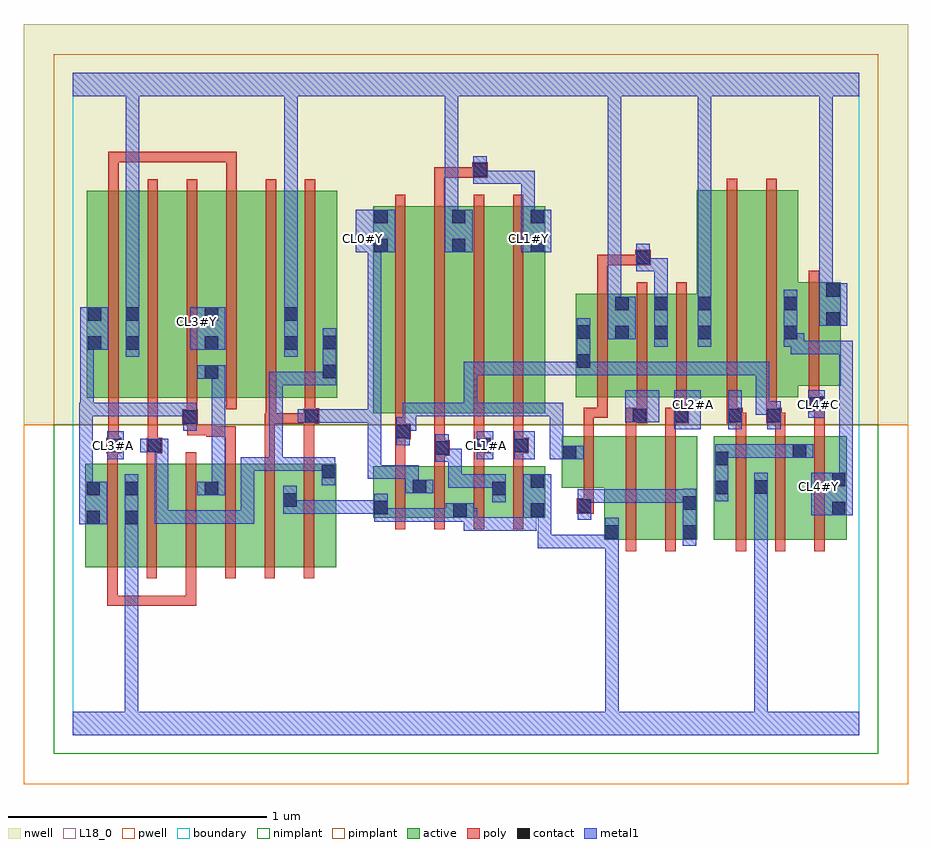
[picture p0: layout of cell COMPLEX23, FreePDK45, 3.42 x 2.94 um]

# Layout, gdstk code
import gdstk
lib = gdstk.Library(unit=1e-6, precision=1e-09)
def R(c, l, rs):  # rectangles x0, y0, x1, y1
    for r in rs: c.add(gdstk.rectangle(r[:2], r[2:], *l))
def A(c, l, x, y, w, h, nx, ny, dx, dy):  # array of equal rectangles
    R(c, l, [(x+i*dx, y+j*dy, x+i*dx+w, y+j*dy+h) for i in range(nx) for j in range(ny)])
active = (1, 0)
pwell = (2, 0)
nwell = (3, 0)
nimplant = (4, 0)
pimplant = (5, 0)
poly = (9, 0)
contact = (10, 0)
metal1 = (11, 0)
L18_0 = (18, 0)
boundary = (235, 0)

complex23 = lib.new_cell('COMPLEX23')
R(complex23, active, [(0.05,0.65,0.11,1.05), (0.05,0.65,0.258,1.05), (0.198,0.65,0.258,1.05), (0.198,0.65,0.382,1.05), (0.382,0.65,0.566,1.05), (0.506,0.65,0.566,1.05), (0.506,0.65,0.686,1.05), (0.686,0.65,0.87,1.05), (0.81,0.65,0.87,1.05), (0.81,0.65,1.018,1.05), (0.958,0.65,1.018,1.05), (2.054,0.756,2.234,1.156), (2.054,0.756,2.114,0.956), (2.234,0.756,2.414,1.156), (2.354,0.756,2.414,1.156), (2.478,0.756,2.538,1.156), (2.478,0.756,2.69,1.156), (2.63,0.756,2.838,1.156), (2.63,0.756,2.69,0.99), (2.778,0.756,2.99,1.156), (2.778,0.756,2.838,1.128), (2.93,0.756,2.99,1.156), (1.162,0.84,1.222,1.04), (1.162,0.84,1.37,1.04), (1.31,0.84,1.37,1.04), (1.31,0.84,1.526,1.04), (1.466,0.84,1.678,1.04), (1.466,0.84,1.526,0.9), (1.618,0.84,1.826,1.04), (1.618,0.84,1.678,0.984), (1.766,0.84,1.826,1.04), (1.89,0.956,1.95,1.156), (1.89,0.956,2.114,1.156), (1.162,1.244,1.342,2.044), (1.162,1.244,1.222,2.044), (1.342,1.244,1.522,2.044), (1.462,1.244,1.646,2.044), (1.646,1.244,1.826,2.044), (1.766,1.244,1.826,2.044), (0.054,1.304,0.114,2.044), (0.054,1.304,0.262,2.104), (0.202,1.304,0.386,2.104), (0.386,1.304,0.566,2.104), (0.506,1.304,0.69,2.104), (0.506,1.304,0.566,2.044), (0.69,1.304,0.874,2.104), (0.814,1.304,1.022,2.104), (0.962,1.304,1.022,2.044), (1.944,1.306,2.152,1.706), (1.944,1.306,2.004,1.644), (2.092,1.306,2.304,1.706), (2.244,1.306,2.472,1.706), (2.412,1.306,2.624,2.106), (2.624,1.306,2.804,2.106), (0.814,1.32,0.874,2.104), (2.744,1.35,2.968,1.75), (2.908,1.35,2.968,1.75), (0.202,1.366,0.262,2.044), (2.412,1.416,2.472,1.698), (2.092,1.526,2.152,1.698), (2.244,1.526,2.304,1.698), (2.744,1.526,2.804,1.704), (1.462,1.65,1.522,2.044)])
R(complex23, pwell, [(-0.188,-0.188,3.228,1.2)])
R(complex23, nwell, [(-0.188,1.2,3.228,2.748)])
R(complex23, nimplant, [(-0.072,-0.072,3.112,1.2)])
R(complex23, pimplant, [(-0.072,1.2,3.112,2.632)])
A(complex23, poly, 0.134, 0.606, 0.04, 0.488, 6, 1, 0.152, 0)
A(complex23, poly, 2.562, 0.712, 0.04, 0.488, 3, 1, 0.152, 0)
A(complex23, poly, 1.246, 0.796, 0.04, 0.288, 4, 1, 0.152, 0)
A(complex23, poly, 1.246, 1.2, 0.04, 0.888, 4, 1, 0.152, 0)
A(complex23, poly, 2.028, 1.226, 0.04, 0.076, 3, 1, 0.152, 0)
A(complex23, poly, 0.138, 1.26, 0.04, 0.888, 6, 1, 0.152, 0)
A(complex23, poly, 2.028, 1.262, 0.04, 0.488, 3, 1, 0.152, 0)
R(complex23, poly, [(0.134,0.5,0.174,0.54), (0.134,0.5,0.174,0.54), (0.134,0.5,0.174,0.54), (0.134,0.5,0.174,0.646), (0.134,0.5,0.358,0.54), (0.318,0.5,0.358,0.54), (0.318,0.5,0.358,0.54), (0.318,0.5,0.358,0.54), (0.318,0.5,0.478,0.54), (0.438,0.5,0.478,0.54), (0.438,0.5,0.478,0.646), (2.138,0.712,2.178,1.2), (2.29,0.712,2.33,1.2), (1.948,0.856,2.014,0.916), (1.974,0.876,2.014,0.952), (1.974,0.912,2.014,1.2), (1.246,1.044,1.286,1.184), (1.398,1.044,1.438,1.12), (1.55,1.044,1.59,1.13), (1.702,1.044,1.742,1.13), (0.134,1.054,0.174,1.13), (0.286,1.054,0.326,1.13), (0.59,1.054,0.63,1.194), (0.742,1.054,0.782,1.244), (0.894,1.054,0.934,1.244), (1.398,1.08,1.458,1.14), (0.13,1.09,0.19,1.15), (0.286,1.09,0.346,1.15), (1.55,1.09,1.618,1.15), (1.702,1.09,1.762,1.15), (1.398,1.1,1.438,1.14), (1.398,1.1,1.438,1.14), (1.398,1.1,1.438,1.24), (0.138,1.11,0.178,1.15), (0.138,1.11,0.178,1.15), (0.138,1.11,0.178,1.3), (0.29,1.11,0.33,1.15), (0.29,1.11,0.33,1.15), (0.29,1.11,0.33,1.3), (1.55,1.11,1.59,1.15), (1.55,1.11,1.59,1.15), (1.55,1.11,1.59,1.24), (1.702,1.11,1.742,1.15), (1.702,1.11,1.742,1.15), (1.702,1.11,1.742,1.24), (1.246,1.144,1.286,1.184), (1.246,1.144,1.286,1.184), (1.246,1.144,1.306,1.204), (0.516,1.154,0.63,1.194), (0.516,1.154,0.556,1.2), (0.59,1.154,0.63,1.194), (0.444,1.16,0.484,1.2), (0.444,1.16,0.556,1.2), (0.444,1.16,0.484,1.24), (1.974,1.16,2.014,1.266), (2.138,1.16,2.178,1.246), (2.29,1.16,2.33,1.246), (2.562,1.16,2.602,1.246), (2.714,1.16,2.754,1.246), (2.866,1.16,2.906,1.29), (1.246,1.164,1.286,1.24), (0.424,1.2,0.484,1.26), (0.742,1.204,0.786,1.244), (0.746,1.204,0.786,1.244), (0.746,1.204,0.786,1.244), (0.746,1.204,0.934,1.244), (0.746,1.204,0.786,1.3), (0.894,1.204,0.934,1.244), (0.894,1.204,0.934,1.244), (0.894,1.204,0.934,1.244), (0.894,1.204,0.934,1.244), (0.894,1.204,0.954,1.264), (2.138,1.206,2.22,1.266), (2.29,1.206,2.38,1.266), (2.528,1.206,2.59,1.266), (2.55,1.206,2.59,1.246), (2.55,1.206,2.602,1.246), (2.68,1.206,2.74,1.266), (2.7,1.206,2.74,1.246), (2.7,1.206,2.754,1.246), (0.442,1.22,0.482,1.3), (0.898,1.224,0.938,1.3), (1.974,1.226,2.014,1.266), (1.974,1.226,2.014,1.266), (1.974,1.226,2.068,1.266), (2.18,1.226,2.22,1.266), (2.18,1.226,2.22,1.266), (2.332,1.226,2.372,1.266), (2.332,1.226,2.372,1.266), (2.528,1.226,2.568,1.302), (2.68,1.226,2.72,1.302), (2.844,1.25,2.904,1.31), (2.864,1.25,2.904,1.29), (2.864,1.25,2.906,1.29), (2.528,1.262,2.568,2.15), (2.68,1.262,2.72,2.15), (2.844,1.27,2.884,1.346), (2.844,1.306,2.884,1.794), (2.028,1.71,2.068,1.856), (2.028,1.816,2.068,1.856), (2.028,1.816,2.068,1.856), (2.028,1.816,2.068,1.856), (2.028,1.816,2.214,1.856), (2.174,1.816,2.234,1.876), (1.398,2.048,1.438,2.194), (0.138,2.108,0.178,2.254), (0.594,2.108,0.634,2.254), (1.398,2.154,1.438,2.194), (1.398,2.154,1.584,2.194), (1.544,2.154,1.584,2.194), (1.544,2.154,1.584,2.194), (1.544,2.154,1.604,2.214), (0.138,2.214,0.178,2.254), (0.138,2.214,0.178,2.254), (0.138,2.214,0.178,2.254), (0.138,2.214,0.358,2.254), (0.318,2.214,0.358,2.254), (0.318,2.214,0.358,2.254), (0.318,2.214,0.358,2.254), (0.318,2.214,0.524,2.254), (0.484,2.214,0.524,2.254), (0.484,2.214,0.634,2.254), (0.594,2.214,0.634,2.254), (0.594,2.214,0.634,2.254), (0.594,2.214,0.634,2.254)])
A(complex23, contact, 0.51, 1.378, 0.052, 0.052, 1, 3, 0, 0.112)
R(complex23, contact, [(2.058,0.76,2.11,0.812), (2.358,0.76,2.41,0.812), (0.054,0.816,0.106,0.868), (0.202,0.816,0.254,0.868), (1.47,0.844,1.522,0.896), (1.77,0.844,1.822,0.896), (2.934,0.85,2.986,0.902), (1.166,0.854,1.218,0.906), (1.952,0.86,2.004,0.912), (2.358,0.872,2.41,0.924), (0.814,0.884,0.866,0.936), (0.054,0.928,0.106,0.98), (0.202,0.928,0.254,0.98), (0.51,0.928,0.562,0.98), (1.622,0.928,1.674,0.98), (2.482,0.932,2.534,0.984), (2.634,0.934,2.686,0.986), (1.314,0.936,1.366,0.988), (1.77,0.956,1.822,1.008), (2.934,0.962,2.986,1.014), (0.962,0.994,1.014,1.046), (2.482,1.044,2.534,1.096), (1.894,1.066,1.946,1.118), (2.782,1.072,2.834,1.124), (1.402,1.084,1.454,1.136), (0.134,1.094,0.186,1.146), (0.29,1.094,0.342,1.146), (1.562,1.094,1.614,1.146), (1.706,1.094,1.758,1.146), (1.25,1.148,1.302,1.2), (0.428,1.204,0.48,1.256), (0.898,1.208,0.95,1.26), (2.164,1.21,2.216,1.262), (2.324,1.21,2.376,1.262), (2.534,1.21,2.586,1.262), (2.684,1.21,2.736,1.262), (2.848,1.254,2.9,1.306), (0.966,1.38,1.018,1.432), (1.948,1.42,2,1.472), (0.058,1.49,0.11,1.542), (0.206,1.49,0.258,1.542), (0.818,1.49,0.87,1.542), (0.966,1.492,1.018,1.544), (2.096,1.53,2.148,1.582), (2.248,1.53,2.3,1.582), (2.416,1.53,2.468,1.582), (2.748,1.53,2.8,1.582), (1.948,1.532,2,1.584), (2.912,1.582,2.964,1.634), (0.058,1.602,0.11,1.654), (0.206,1.602,0.258,1.654), (0.818,1.602,0.87,1.654), (2.096,1.642,2.148,1.694), (2.248,1.642,2.3,1.694), (2.416,1.642,2.468,1.694), (2.748,1.642,2.8,1.694), (2.912,1.694,2.964,1.746), (2.178,1.82,2.23,1.872), (1.166,1.866,1.218,1.918), (1.466,1.866,1.518,1.918), (1.77,1.866,1.822,1.918), (1.166,1.978,1.218,2.03), (1.466,1.978,1.518,2.03), (1.77,1.978,1.822,2.03), (1.548,2.158,1.6,2.21)])
R(complex23, metal1, [(0,0,3.04,0.092), (0.202,0.04,0.254,0.092), (0.202,0.04,0.254,0.092), (0.202,0.04,0.254,0.092), (0.202,0.04,0.254,0.092), (0.202,0.04,0.254,0.092), (0.202,0.04,0.254,0.092), (0.202,0.04,0.254,0.092), (0.202,0.04,0.254,0.092), (0.202,0.04,0.254,0.092), (0.202,0.04,0.254,0.092), (0.202,0.04,0.254,0.092), (0.202,0.04,0.254,0.092), (0.202,0.04,0.254,0.84), (2.058,0.04,2.11,0.092), (2.058,0.04,2.11,0.092), (2.058,0.04,2.11,0.092), (2.058,0.04,2.11,0.092), (2.058,0.04,2.11,0.092), (2.058,0.04,2.11,0.092), (2.058,0.04,2.11,0.774), (2.634,0.04,2.686,0.092), (2.634,0.04,2.686,0.092), (2.634,0.04,2.686,0.092), (2.634,0.04,2.686,0.092), (2.634,0.04,2.686,0.092), (2.634,0.04,2.686,0.092), (2.634,0.04,2.686,0.958), (1.798,0.722,1.85,0.774), (1.798,0.722,1.85,0.774), (1.798,0.722,1.85,0.774), (1.798,0.722,2,0.774), (1.798,0.722,1.85,0.896), (1.948,0.722,2,0.774), (1.948,0.722,2.006,0.774), (1.954,0.722,2.006,0.774), (1.954,0.722,2.11,0.774), (2.058,0.722,2.11,0.774), (2.058,0.722,2.11,0.774), (2.058,0.722,2.11,0.774), (2.058,0.722,2.11,0.774), (2.058,0.722,2.11,0.774), (2.058,0.722,2.11,0.774), (2.058,0.722,2.11,0.84), (2.358,0.732,2.41,0.952), (0.202,0.788,0.254,1.008), (1.512,0.79,1.674,0.842), (1.512,0.79,1.564,0.878), (1.622,0.79,1.674,0.842), (1.622,0.79,1.794,0.842), (1.742,0.79,1.794,0.896), (0.026,0.816,0.134,0.98), (0.318,0.818,0.37,0.87), (0.318,0.818,0.48,0.87), (0.318,0.818,0.37,1.146), (0.428,0.818,0.48,0.87), (0.428,0.818,0.48,0.87), (0.428,0.818,0.48,0.87), (0.428,0.818,0.702,0.87), (0.65,0.818,0.702,0.87), (0.65,0.818,0.702,0.87), (0.65,0.818,0.702,0.87), (0.65,0.818,0.702,1.074), (1.166,0.826,1.218,0.934), (1.166,0.826,1.344,0.878), (1.292,0.826,1.344,0.878), (1.292,0.826,1.344,0.878), (1.292,0.826,1.344,0.878), (1.292,0.826,1.454,0.878), (1.402,0.826,1.454,0.878), (1.402,0.826,1.494,0.878), (1.442,0.826,1.55,0.896), (1.498,0.826,1.564,0.878), (1.952,0.832,2.004,0.95), (1.742,0.844,1.794,0.896), (1.742,0.844,1.85,1.008), (2.854,0.85,3.014,1.014), (0.814,0.856,0.866,0.964), (0.814,0.856,1.036,0.908), (0.984,0.856,1.036,0.908), (0.984,0.856,1.036,0.908), (0.984,0.856,1.036,0.908), (0.984,0.856,1.218,0.908), (1.952,0.898,2.15,0.95), (2.098,0.898,2.15,0.95), (2.098,0.898,2.15,0.95), (2.098,0.898,2.15,0.95), (2.098,0.898,2.26,0.95), (2.208,0.898,2.26,0.95), (2.208,0.898,2.41,0.95), (2.358,0.898,2.41,0.95), (2.358,0.898,2.41,0.95), (1.622,0.9,1.674,1.008), (2.482,0.904,2.534,1.124), (2.634,0.906,2.686,0.958), (2.634,0.906,2.686,0.958), (2.634,0.906,2.686,0.958), (2.634,0.906,2.686,0.958), (2.634,0.906,2.686,0.958), (2.634,0.906,2.686,0.958), (2.634,0.906,2.686,1.014), (0.026,0.928,0.078,0.98), (0.026,0.928,0.078,0.98), (0.026,0.928,0.078,1.284), (0.482,0.928,0.59,0.98), (0.538,0.928,0.59,0.98), (0.538,0.928,0.59,0.98), (0.538,0.928,0.59,0.98), (0.538,0.928,0.59,0.98), (0.538,0.928,0.59,1.43), (1.286,0.936,1.394,0.988), (1.286,0.936,1.338,1.044), (1.452,0.956,1.504,1.008), (1.452,0.956,1.504,1.108), (1.452,0.956,1.564,1.008), (1.512,0.956,1.564,1.008), (1.512,0.956,1.674,1.008), (2.962,0.962,3.014,1.014), (2.962,0.962,3.014,1.014), (2.962,0.962,3.014,1.014), (2.962,0.962,3.014,1.014), (2.962,0.962,3.014,1.014), (2.962,0.962,3.014,1.014), (2.962,0.962,3.014,1.014), (2.962,0.962,3.014,1.014), (2.962,0.962,3.014,1.524), (0.962,0.966,1.014,1.074), (1.14,0.992,1.192,1.044), (1.14,0.992,1.338,1.044), (1.14,0.992,1.192,1.26), (1.286,0.992,1.338,1.044), (1.286,0.992,1.338,1.044), (1.286,0.992,1.338,1.044), (0.65,1.022,0.702,1.074), (0.65,1.022,0.812,1.074), (0.76,1.022,0.812,1.074), (0.76,1.022,0.812,1.074), (0.76,1.022,0.812,1.074), (0.76,1.022,0.812,1.074), (0.76,1.022,0.812,1.074), (0.76,1.022,1.014,1.074), (0.76,1.022,0.812,1.404), (0.962,1.022,1.014,1.074), (0.962,1.022,1.014,1.074), (1.402,1.056,1.454,1.164), (1.402,1.056,1.504,1.108), (1.452,1.056,1.504,1.108), (0.134,1.066,0.198,1.174), (1.562,1.066,1.626,1.174), (1.706,1.066,1.786,1.174), (1.844,1.066,1.896,1.118), (1.844,1.066,1.896,1.118), (1.844,1.066,1.896,1.118), (1.844,1.066,1.918,1.118), (1.844,1.066,1.896,1.284), (1.866,1.066,1.974,1.118), (2.482,1.072,2.534,1.124), (2.482,1.072,2.534,1.124), (2.482,1.072,2.69,1.124), (2.638,1.072,2.69,1.124), (2.638,1.072,2.696,1.124), (2.644,1.072,2.696,1.124), (2.644,1.072,2.806,1.124), (2.754,1.072,2.862,1.124), (0.262,1.094,0.37,1.146), (0.318,1.094,0.37,1.146), (0.318,1.094,0.37,1.146), (0.318,1.094,0.37,1.146), (0.318,1.094,0.37,1.146), (1.25,1.12,1.302,1.228), (0.428,1.176,0.48,1.284), (1.25,1.176,1.328,1.228), (1.276,1.176,1.328,1.284), (2.324,1.182,2.426,1.334), (2.534,1.182,2.586,1.334), (2.684,1.182,2.736,1.29), (0.87,1.208,0.978,1.26), (0.926,1.208,1.192,1.26), (1.14,1.208,1.192,1.26), (1.14,1.208,1.192,1.26), (1.14,1.208,1.192,1.26), (1.14,1.208,1.192,1.918), (2.136,1.21,2.266,1.334), (2.842,1.226,2.906,1.334), (0.026,1.232,0.082,1.284), (0.03,1.232,0.082,1.284), (0.03,1.232,0.082,1.284), (0.03,1.232,0.204,1.284), (0.03,1.232,0.082,1.542), (0.152,1.232,0.204,1.284), (0.152,1.232,0.204,1.284), (0.152,1.232,0.204,1.284), (0.152,1.232,0.37,1.284), (0.318,1.232,0.37,1.284), (0.318,1.232,0.48,1.284), (1.276,1.232,1.454,1.284), (1.402,1.232,1.454,1.284), (1.402,1.232,1.564,1.284), (1.512,1.232,1.564,1.284), (1.512,1.232,1.564,1.284), (1.512,1.232,1.564,1.284), (1.512,1.232,1.674,1.284), (1.512,1.232,1.564,1.444), (1.622,1.232,1.674,1.284), (1.622,1.232,1.808,1.284), (1.756,1.232,1.808,1.284), (1.756,1.232,1.896,1.284), (1.844,1.232,1.896,1.284), (2.64,1.238,2.692,1.29), (2.64,1.238,2.736,1.29), (2.64,1.238,2.692,1.444), (0.76,1.352,0.812,1.404), (0.76,1.352,0.812,1.404), (0.76,1.352,0.812,1.404), (0.76,1.352,1.018,1.404), (0.966,1.352,1.018,1.404), (0.966,1.352,1.018,1.404), (0.966,1.352,1.018,1.572), (0.482,1.378,0.59,1.43), (1.512,1.392,1.564,1.444), (1.512,1.392,1.564,1.444), (1.512,1.392,1.564,1.444), (1.512,1.392,1.674,1.444), (1.622,1.392,1.674,1.444), (1.622,1.392,1.808,1.444), (1.756,1.392,1.808,1.444), (1.756,1.392,1.808,1.444), (1.756,1.392,1.808,1.444), (1.756,1.392,2,1.444), (1.948,1.392,2,1.612), (1.948,1.392,2.006,1.444), (1.954,1.392,2.006,1.444), (1.954,1.392,2.15,1.444), (2.098,1.392,2.15,1.444), (2.098,1.392,2.15,1.444), (2.098,1.392,2.15,1.444), (2.098,1.392,2.266,1.444), (2.214,1.392,2.266,1.444), (2.214,1.392,2.41,1.444), (2.358,1.392,2.41,1.444), (2.358,1.392,2.41,1.444), (2.358,1.392,2.41,1.444), (2.358,1.392,2.52,1.444), (2.468,1.392,2.52,1.444), (2.468,1.392,2.52,1.444), (2.468,1.392,2.52,1.444), (2.468,1.392,2.692,1.444), (2.64,1.392,2.692,1.444), (0.206,1.462,0.258,1.682), (0.818,1.462,0.87,1.682), (2.774,1.472,3.014,1.524), (2.774,1.472,2.826,1.554), (2.962,1.472,3.014,1.524), (0.03,1.49,0.138,1.654), (0.454,1.49,0.59,1.654), (2.248,1.502,2.3,1.722), (2.416,1.502,2.468,1.722), (2.748,1.502,2.826,1.554), (2.748,1.502,2.8,1.722), (2.068,1.53,2.176,1.694), (2.884,1.582,2.992,1.746), (0.206,1.63,0.258,2.52), (0.818,1.63,0.87,1.682), (0.818,1.63,0.87,1.682), (0.818,1.63,0.87,2.52), (2.068,1.642,2.12,2.52), (2.248,1.67,2.3,1.844), (2.416,1.67,2.468,2.52), (2.884,1.694,2.936,2.52), (2.178,1.792,2.23,1.9), (2.178,1.792,2.3,1.844), (2.248,1.792,2.3,1.844), (1.094,1.866,1.246,2.03), (1.14,1.866,1.192,1.918), (1.14,1.866,1.192,1.918), (1.438,1.866,1.546,2.03), (1.734,1.866,1.85,2.03), (1.438,1.978,1.49,2.03), (1.438,1.978,1.49,2.03), (1.438,1.978,1.49,2.03), (1.438,1.978,1.49,2.03), (1.438,1.978,1.49,2.03), (1.438,1.978,1.49,2.03), (1.438,1.978,1.49,2.52), (1.734,1.978,1.786,2.182), (1.548,2.13,1.6,2.238), (1.548,2.13,1.676,2.182), (1.624,2.13,1.676,2.182), (1.624,2.13,1.676,2.182), (1.624,2.13,1.676,2.182), (1.624,2.13,1.786,2.182), (1.734,2.13,1.786,2.182), (1.734,2.13,1.786,2.182), (1.734,2.13,1.786,2.182), (0,2.468,3.04,2.56), (0.206,2.468,0.258,2.52), (0.206,2.468,0.258,2.52), (0.206,2.468,0.258,2.52), (0.206,2.468,0.258,2.52), (0.206,2.468,0.258,2.52), (0.206,2.468,0.258,2.52), (0.206,2.468,0.258,2.52), (0.206,2.468,0.258,2.52), (0.818,2.468,0.87,2.52), (0.818,2.468,0.87,2.52), (0.818,2.468,0.87,2.52), (0.818,2.468,0.87,2.52), (0.818,2.468,0.87,2.52), (0.818,2.468,0.87,2.52), (1.438,2.468,1.49,2.52), (1.438,2.468,1.49,2.52), (2.068,2.468,2.12,2.52), (2.068,2.468,2.12,2.52), (2.068,2.468,2.12,2.52), (2.068,2.468,2.12,2.52), (2.068,2.468,2.12,2.52), (2.068,2.468,2.12,2.52), (2.068,2.468,2.12,2.52), (2.068,2.468,2.12,2.52), (2.068,2.468,2.12,2.52), (2.068,2.468,2.12,2.52), (2.068,2.468,2.12,2.52), (2.068,2.468,2.12,2.52), (2.068,2.468,2.12,2.52), (2.068,2.468,2.12,2.52), (2.068,2.468,2.12,2.52), (2.068,2.468,2.12,2.52), (2.416,2.468,2.468,2.52), (2.416,2.468,2.468,2.52), (2.416,2.468,2.468,2.52), (2.416,2.468,2.468,2.52), (2.416,2.468,2.468,2.52), (2.416,2.468,2.468,2.52), (2.416,2.468,2.468,2.52), (2.416,2.468,2.468,2.52), (2.884,2.468,2.936,2.52), (2.884,2.468,2.936,2.52), (2.884,2.468,2.936,2.52), (2.884,2.468,2.936,2.52), (2.884,2.468,2.936,2.52), (2.884,2.468,2.936,2.52), (2.884,2.468,2.936,2.52), (2.884,2.468,2.936,2.52), (2.884,2.468,2.936,2.52), (2.884,2.468,2.936,2.52), (2.884,2.468,2.936,2.52), (2.884,2.468,2.936,2.52), (2.884,2.468,2.936,2.52), (2.884,2.468,2.936,2.52), (2.884,2.468,2.936,2.52), (2.884,2.468,2.936,2.52)])
A(complex23, L18_0, 2.214, 1.254, 0.052, 0.052, 3, 1, 0.16, 0)
R(complex23, L18_0, [(0,0,3.04,0.092), (0.202,0.04,0.254,0.092), (0.202,0.04,0.254,0.092), (0.202,0.04,0.254,0.092), (0.202,0.04,0.254,0.092), (0.202,0.04,0.254,0.092), (0.202,0.04,0.254,0.092), (0.202,0.04,0.254,0.092), (0.202,0.04,0.254,0.092), (0.202,0.04,0.254,0.092), (0.202,0.04,0.254,0.092), (0.202,0.04,0.254,0.092), (0.202,0.04,0.254,0.092), (0.202,0.04,0.254,0.84), (2.058,0.04,2.11,0.092), (2.058,0.04,2.11,0.092), (2.058,0.04,2.11,0.092), (2.058,0.04,2.11,0.092), (2.058,0.04,2.11,0.092), (2.058,0.04,2.11,0.092), (2.058,0.04,2.11,0.774), (2.634,0.04,2.686,0.092), (2.634,0.04,2.686,0.092), (2.634,0.04,2.686,0.092), (2.634,0.04,2.686,0.092), (2.634,0.04,2.686,0.092), (2.634,0.04,2.686,0.092), (2.634,0.04,2.686,0.958), (1.798,0.722,1.85,0.774), (1.798,0.722,1.85,0.774), (1.798,0.722,1.85,0.774), (1.798,0.722,1.85,0.896), (1.798,0.722,2,0.774), (1.948,0.722,2,0.774), (1.948,0.722,2.006,0.774), (1.954,0.722,2.006,0.774), (1.954,0.722,2.11,0.774), (2.058,0.722,2.11,0.774), (2.058,0.722,2.11,0.774), (2.058,0.722,2.11,0.774), (2.058,0.722,2.11,0.774), (2.058,0.722,2.11,0.774), (2.058,0.722,2.11,0.774), (2.058,0.722,2.11,0.84), (0.202,0.788,0.254,1.008), (1.512,0.79,1.674,0.842), (1.512,0.79,1.564,0.878), (1.622,0.79,1.674,0.842), (1.622,0.79,1.794,0.842), (1.742,0.79,1.794,0.896), (1.166,0.826,1.218,0.934), (1.166,0.826,1.344,0.878), (1.292,0.826,1.344,0.878), (1.292,0.826,1.344,0.878), (1.292,0.826,1.344,0.878), (1.292,0.826,1.454,0.878), (1.402,0.826,1.454,0.878), (1.402,0.826,1.494,0.878), (1.442,0.826,1.55,0.896), (1.498,0.826,1.564,0.878), (1.742,0.844,1.794,0.896), (1.742,0.844,1.85,1.008), (2.854,0.85,3.014,1.014), (0.814,0.856,0.866,0.964), (0.814,0.856,1.036,0.908), (0.984,0.856,1.036,0.908), (0.984,0.856,1.036,0.908), (0.984,0.856,1.036,0.908), (0.984,0.856,1.218,0.908), (1.622,0.9,1.674,1.008), (2.634,0.906,2.686,0.958), (2.634,0.906,2.686,0.958), (2.634,0.906,2.686,0.958), (2.634,0.906,2.686,0.958), (2.634,0.906,2.686,0.958), (2.634,0.906,2.686,0.958), (2.634,0.906,2.686,1.014), (0.482,0.928,0.59,0.98), (0.538,0.928,0.59,0.98), (0.538,0.928,0.59,0.98), (0.538,0.928,0.59,0.98), (0.538,0.928,0.59,0.98), (0.538,0.928,0.59,1.43), (2.854,0.934,2.906,0.986), (1.286,0.936,1.394,0.988), (1.286,0.936,1.338,1.044), (1.452,0.956,1.504,1.008), (1.452,0.956,1.504,1.108), (1.452,0.956,1.564,1.008), (1.512,0.956,1.564,1.008), (1.512,0.956,1.674,1.008), (2.962,0.962,3.014,1.014), (2.962,0.962,3.014,1.014), (2.962,0.962,3.014,1.014), (2.962,0.962,3.014,1.014), (2.962,0.962,3.014,1.014), (2.962,0.962,3.014,1.014), (2.962,0.962,3.014,1.014), (2.962,0.962,3.014,1.014), (2.962,0.962,3.014,1.524), (1.14,0.992,1.192,1.044), (1.14,0.992,1.192,1.26), (1.14,0.992,1.338,1.044), (1.286,0.992,1.338,1.044), (1.286,0.992,1.338,1.044), (1.286,0.992,1.338,1.044), (1.402,1.056,1.454,1.164), (1.402,1.056,1.504,1.108), (1.452,1.056,1.504,1.108), (0.134,1.066,0.198,1.174), (1.562,1.066,1.626,1.174), (1.706,1.066,1.786,1.174), (0.134,1.094,0.186,1.146), (1.574,1.094,1.626,1.146), (1.734,1.094,1.786,1.146), (2.324,1.182,2.426,1.334), (2.534,1.182,2.586,1.334), (0.87,1.208,0.978,1.26), (0.926,1.208,1.192,1.26), (1.14,1.208,1.192,1.26), (1.14,1.208,1.192,1.26), (1.14,1.208,1.192,1.26), (1.14,1.208,1.192,1.918), (2.136,1.21,2.266,1.334), (2.842,1.226,2.906,1.334), (2.854,1.254,2.906,1.306), (0.482,1.378,0.59,1.43), (0.206,1.462,0.258,1.682), (0.818,1.462,0.87,1.682), (2.774,1.472,2.826,1.554), (2.774,1.472,3.014,1.524), (2.962,1.472,3.014,1.524), (0.454,1.49,0.59,1.654), (2.416,1.502,2.468,1.722), (2.748,1.502,2.8,1.722), (2.748,1.502,2.826,1.554), (2.068,1.53,2.176,1.694), (0.454,1.574,0.506,1.626), (2.884,1.582,2.992,1.746), (0.206,1.63,0.258,2.52), (0.818,1.63,0.87,1.682), (0.818,1.63,0.87,1.682), (0.818,1.63,0.87,2.52), (2.068,1.642,2.12,2.52), (2.416,1.67,2.468,2.52), (2.884,1.694,2.936,2.52), (1.094,1.866,1.246,2.03), (1.14,1.866,1.192,1.918), (1.14,1.866,1.192,1.918), (1.438,1.866,1.546,2.03), (1.734,1.866,1.85,2.03), (1.094,1.894,1.146,1.946), (1.734,1.894,1.786,1.946), (1.438,1.978,1.49,2.03), (1.438,1.978,1.49,2.03), (1.438,1.978,1.49,2.03), (1.438,1.978,1.49,2.03), (1.438,1.978,1.49,2.03), (1.438,1.978,1.49,2.03), (1.438,1.978,1.49,2.52), (1.734,1.978,1.786,2.182), (1.548,2.13,1.6,2.238), (1.548,2.13,1.676,2.182), (1.624,2.13,1.676,2.182), (1.624,2.13,1.676,2.182), (1.624,2.13,1.676,2.182), (1.624,2.13,1.786,2.182), (1.734,2.13,1.786,2.182), (1.734,2.13,1.786,2.182), (1.734,2.13,1.786,2.182), (0,2.468,3.04,2.56), (0.206,2.468,0.258,2.52), (0.206,2.468,0.258,2.52), (0.206,2.468,0.258,2.52), (0.206,2.468,0.258,2.52), (0.206,2.468,0.258,2.52), (0.206,2.468,0.258,2.52), (0.206,2.468,0.258,2.52), (0.206,2.468,0.258,2.52), (0.818,2.468,0.87,2.52), (0.818,2.468,0.87,2.52), (0.818,2.468,0.87,2.52), (0.818,2.468,0.87,2.52), (0.818,2.468,0.87,2.52), (0.818,2.468,0.87,2.52), (1.438,2.468,1.49,2.52), (1.438,2.468,1.49,2.52), (2.068,2.468,2.12,2.52), (2.068,2.468,2.12,2.52), (2.068,2.468,2.12,2.52), (2.068,2.468,2.12,2.52), (2.068,2.468,2.12,2.52), (2.068,2.468,2.12,2.52), (2.068,2.468,2.12,2.52), (2.068,2.468,2.12,2.52), (2.068,2.468,2.12,2.52), (2.068,2.468,2.12,2.52), (2.068,2.468,2.12,2.52), (2.068,2.468,2.12,2.52), (2.068,2.468,2.12,2.52), (2.068,2.468,2.12,2.52), (2.068,2.468,2.12,2.52), (2.068,2.468,2.12,2.52), (2.416,2.468,2.468,2.52), (2.416,2.468,2.468,2.52), (2.416,2.468,2.468,2.52), (2.416,2.468,2.468,2.52), (2.416,2.468,2.468,2.52), (2.416,2.468,2.468,2.52), (2.416,2.468,2.468,2.52), (2.416,2.468,2.468,2.52), (2.884,2.468,2.936,2.52), (2.884,2.468,2.936,2.52), (2.884,2.468,2.936,2.52), (2.884,2.468,2.936,2.52), (2.884,2.468,2.936,2.52), (2.884,2.468,2.936,2.52), (2.884,2.468,2.936,2.52), (2.884,2.468,2.936,2.52), (2.884,2.468,2.936,2.52), (2.884,2.468,2.936,2.52), (2.884,2.468,2.936,2.52), (2.884,2.468,2.936,2.52), (2.884,2.468,2.936,2.52), (2.884,2.468,2.936,2.52), (2.884,2.468,2.936,2.52), (2.884,2.468,2.936,2.52)])
R(complex23, boundary, [(0,0,3.04,2.56)])
complex23.add(gdstk.Label('CL0#Y', (1.12,1.92), layer=11, texttype=0))
complex23.add(gdstk.Label('CL1#A', (1.6,1.12), layer=11, texttype=0))
complex23.add(gdstk.Label('CL1#B', (1.76,1.12), layer=11, texttype=0))
complex23.add(gdstk.Label('CL1#Y', (1.76,1.92), layer=11, texttype=0))
complex23.add(gdstk.Label('CL2#A', (2.4,1.28), layer=11, texttype=0))
complex23.add(gdstk.Label('CL2#B', (2.24,1.28), layer=11, texttype=0))
complex23.add(gdstk.Label('CL3#A', (0.16,1.12), layer=11, texttype=0))
complex23.add(gdstk.Label('CL3#Y', (0.48,1.6), layer=11, texttype=0))
complex23.add(gdstk.Label('CL4#A', (2.56,1.28), layer=11, texttype=0))
complex23.add(gdstk.Label('CL4#C', (2.88,1.28), layer=11, texttype=0))
complex23.add(gdstk.Label('CL4#Y', (2.88,0.96), layer=11, texttype=0))

lib.write_gds('COMPLEX23.gds')
